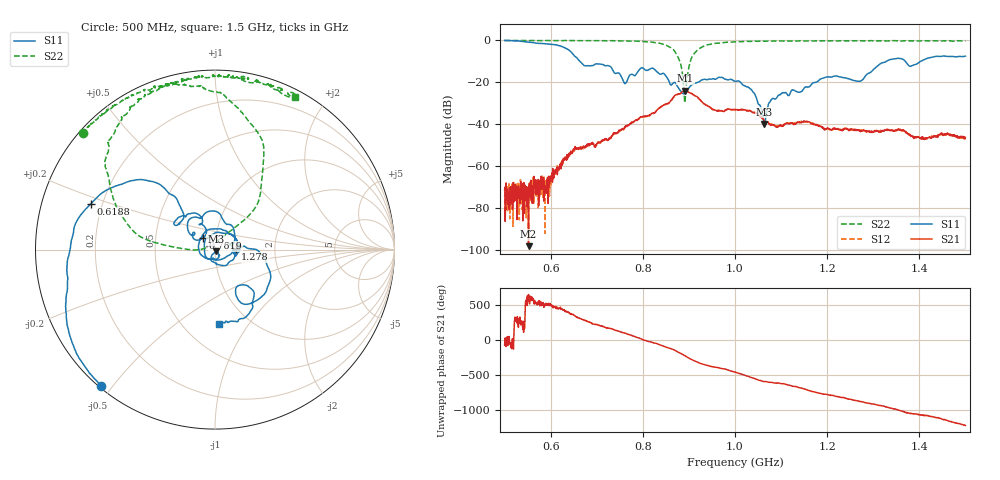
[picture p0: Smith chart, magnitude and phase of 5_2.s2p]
!Agilent Technologies,E8364B,US42250235,A.06.04.32
!Agilent E8364B: A.06.04.32
!Date: Friday, January 15, 2021 14:45:34
!Correction: S11(Full 2 Port(1,2)) S21(Full 2 Port(1,2)) S12(Full 2 Port(1,2)) S22(Full 2 Port(1,2))
!S2P File: Measurements: S11, S21, S12, S22:
# Hz S  dB  R 50
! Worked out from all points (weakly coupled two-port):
!   1601 points, 500 MHz to 1.5 GHz, reference 50 ohm
!   highest |S21| = -24.09 dB at 891.9 MHz (marker M1); lowest = -98.1 dB at 551.9 MHz (marker M2)
!   lowest |S11| = -39.9 dB at 1.063 GHz (marker M3), VSWR 1.02, Z = 50.4 - j0.925 ohm
!   |S11| at or under -10 dB: 663.2 MHz to 1.329 GHz (665.9 MHz wide, 66.8 % of centre); 1.369 GHz to 1.403 GHz (33.66 MHz wide, 2.43 % of centre)
!   |S22| runs from -29.8 to -0.1 dB; largest |S21 - S12| = 0.0016
!   S11 on the Smith chart (normalised r, x): 500 MHz: 0.01, -0.47; 618.8 MHz: 0.16, +0.18; 761.9 MHz: 0.87, +0.12; 1.278 GHz: 1.26, +0.01; 1.5 GHz: 0.73, -0.74
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5e8  -0.11 -129.9  -71.46 -79.8  -74.46 42.2  -0.14 138.5
5.51875e8  -0.89 -156.6  -98.12 -77.0  -90.27 -91.1  -0.16 134.0
5.9e8  -1.74 -177.1  -71.13 134.9  -67.47 141.5  -0.15 129.7
6.1875e8  -2.66 159.6  -60.33 82.3  -61.19 75.5  -0.17 127.9
6.66875e8  -10.82 129.9  -50.99 -70.1  -51.70 -72.4  -0.20 121.6
7.26875e8  -12.31 124.3  -47.23 161.0  -46.90 161.5  -0.24 113.8
7.61875e8  -20.65 134.8  -41.38 92.2  -41.20 90.6  -0.34 108.7
7.96875e8  -13.18 132.2  -36.41 7.4  -36.71 5.6  -0.59 101.0
8.3375e8  -15.68 72.1  -32.57 -66.5  -32.74 -66.8  -1.29 86.6
8.71875e8  -20.61 -14.6  -26.05 -164.3  -26.12 -165.0  -6.28 57.2
8.91875e8  -25.29 -101.2  -24.09 125.5  -24.14 125.2  -28.51 150.5
9.0375e8  -21.69 -159.0  -25.21 81.9  -25.21 81.3  -9.53 173.3
9.18125e8  -20.15 151.0  -26.98 37.4  -27.12 36.5  -4.74 157.9
9.55625e8  -18.57 51.1  -33.29 -32.9  -33.28 -33.3  -1.51 134.9
1e9  -19.52 -39.5  -33.20 -105.1  -33.04 -105.3  -0.74 121.0
1.03875e9  -24.58 -113.4  -34.54 171.7  -34.29 170.7  -0.48 114.3
1.063125e9  -39.93 -65.5  -38.06 120.8  -37.75 121.0  -0.51 111.0
1.08e9  -28.02 -50.1  -40.20 108.4  -40.01 106.0  -0.41 107.8
1.166875e9  -20.80 91.9  -39.78 -21.4  -39.72 -18.1  -0.34 97.5
1.2775e9  -18.74 2.5  -43.06 -169.5  -42.94 -174.7  -0.32 86.5
1.33375e9  -9.44 -23.6  -42.85 109.8  -43.05 107.5  -0.29 79.4
1.5e9  -7.59 -86.8  -46.28 -146.4  -46.47 -149.0  -0.36 62.3
